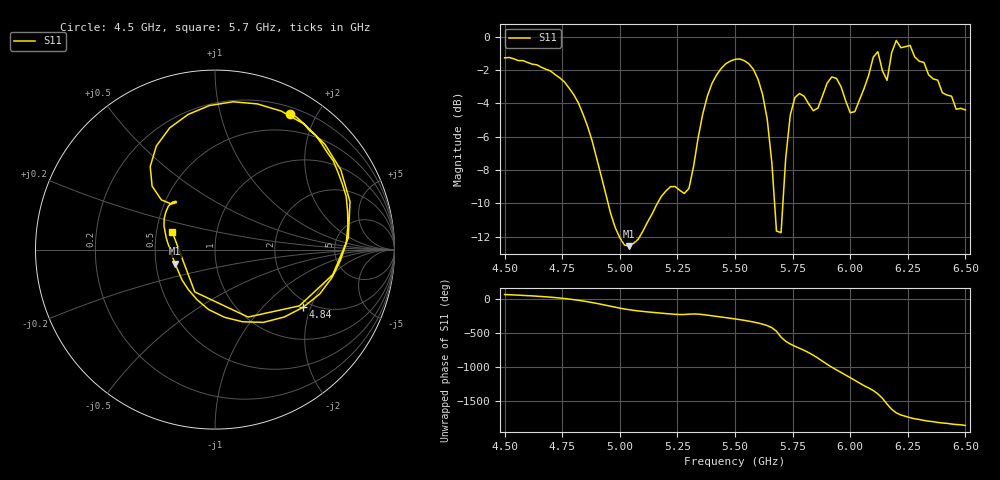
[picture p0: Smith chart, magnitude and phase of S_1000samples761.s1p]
! TOUCHSTONE file generated by CST MICROWAVE STUDIO
! Date and time: Sat Oct 29 07:14:42 2022
! Project name: L.cst
! Parameters = {Di=1.27; Epsilon_r=1.56; InnerDiameter=1.27; Length=2; Lf=10; Lg=60; OuterConductorThickness=0.2921; OuterDiameter=3.6; Wf=3; Wp=41.2; de=1.5; df=6.8; g=0.8; gx=4.19466; gy=0.807234; h=2.34; hf=1.524; px=12.805; py=13.7036; w=9.7; wx=8.61036; wy=12.8964}
! Header version: 2018
! Port assignment regex: !\s*Touchstone port\s*([0-9]+)\s*=\s*(CST MWS port|CST DS port)\s*([0-9]+|Zmin|Zmax)\s*\(\"(.*)\"\)(\s*mode\s*([0-9]+))?.*
! Touchstone port assignment:
! Touchstone port 1 = CST MWS port 1 ("")
# GHz S DB R 50
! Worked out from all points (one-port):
!   101 points, 4.5 GHz to 6.5 GHz, reference 50 ohm
!   lowest |S11| = -12.6 dB at 5.04 GHz (marker M1), VSWR 1.62, Z = 31.5 - j5.28 ohm
!   |S11| at or under -10 dB: 4.949 GHz to 5.163 GHz (213.5 MHz wide, 4.22 % of centre); 5.672 GHz to 5.708 GHz (35.99 MHz wide, 0.632 % of centre)
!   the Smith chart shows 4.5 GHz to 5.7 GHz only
!   S11 on the Smith chart (normalised r, x): 4.5 GHz: 0.28, +1.67; 4.84 GHz: 1.81, -1.77; 5.7 GHz: 0.60, +0.13
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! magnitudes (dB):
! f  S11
! 4.5 GHz  -1.3
! 4.76 GHz  -2.7
! 4.84 GHz  -4.6
! 5 GHz  -12.1
! 5.04 GHz  -12.6
! 5.2 GHz  -9.3
! 5.26 GHz  -9.2
! 5.3 GHz  -9.1
! 5.36 GHz  -4.6
! 5.4 GHz  -2.8
! 5.5 GHz  -1.4
! 5.58 GHz  -2.0
! 5.62 GHz  -3.5
! 5.66 GHz  -7.6
! 5.68 GHz  -11.7
! 5.7 GHz  -11.8
! 5.72 GHz  -7.3
! 5.74 GHz  -4.7
! 5.76 GHz  -3.7
! 5.84 GHz  -4.4
! 5.92 GHz  -2.4
! 6 GHz  -4.6
! 6.12 GHz  -0.9
! 6.16 GHz  -2.6
! 6.2 GHz  -0.2
! 6.26 GHz  -0.5
! 6.46 GHz  -4.4
! 6.5 GHz  -4.4
